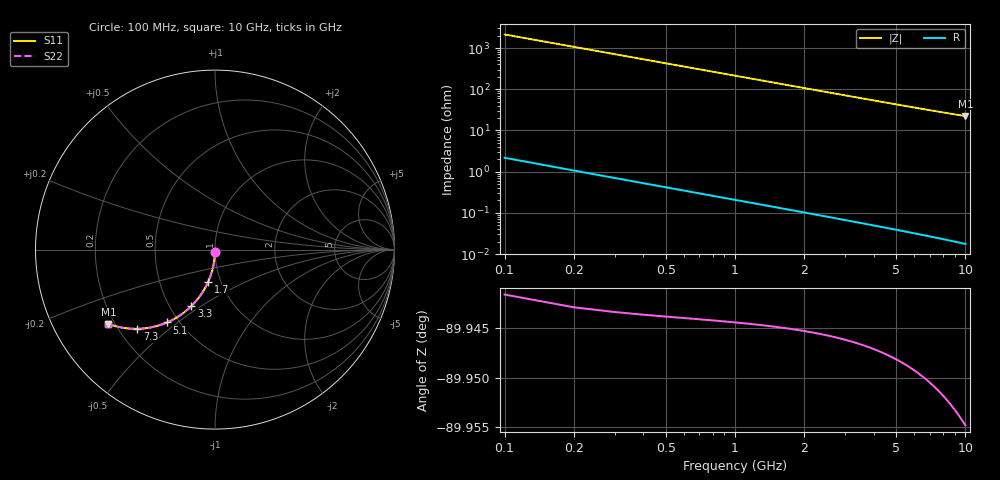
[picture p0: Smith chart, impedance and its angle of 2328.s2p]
# Hz S RI R 50.00
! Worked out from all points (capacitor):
!   100 points, 100 MHz to 10 GHz, reference 50 ohm
!   read as one part in shunt: C = 746 fF near 100 MHz
!   lowest |Z| = 22.3 ohm at 10 GHz (marker M1)
!   S11 on the Smith chart (normalised r, x): 100 MHz: 1.00, -0.02; 1.7 GHz: 0.87, -0.32; 3.3 GHz: 0.64, -0.46; 5.1 GHz: 0.43, -0.46; 7.3 GHz: 0.28, -0.39; 10 GHz: 0.18, -0.31
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1e8  -8.87e-06 -0.011  0.9997 -0.0124  0.9997 -0.0124  -8.87e-06 -0.011
2e8  -0.00043 -0.022  0.9993 -0.0249  0.9993 -0.0249  -0.00043 -0.022
3e8  -0.00112 -0.033  0.9986 -0.0373  0.9986 -0.0373  -0.00112 -0.033
4e8  -0.00209 -0.0439  0.9976 -0.0497  0.9976 -0.0497  -0.00209 -0.0439
5e8  -0.00333 -0.0548  0.9964 -0.062  0.9964 -0.062  -0.00333 -0.0548
6e8  -0.00483 -0.0657  0.9948 -0.0743  0.9948 -0.0743  -0.00483 -0.0657
8e8  -0.00865 -0.0873  0.991 -0.0988  0.991 -0.0988  -0.00865 -0.0873
9e8  -0.0109 -0.098  0.9887 -0.1109  0.9887 -0.1109  -0.0109 -0.098
1.1e9  -0.0163 -0.1191  0.9833 -0.1349  0.9833 -0.1349  -0.0163 -0.1191
1.4e9  -0.0262 -0.15  0.9733 -0.1701  0.9733 -0.1701  -0.0262 -0.15
1.7e9  -0.0383 -0.1798  0.9611 -0.2043  0.9611 -0.2043  -0.0383 -0.1798
1.8e9  -0.0427 -0.1895  0.9566 -0.2154  0.9566 -0.2154  -0.0427 -0.1895
2.1e9  -0.0574 -0.2176  0.9419 -0.2479  0.9419 -0.2479  -0.0574 -0.2176
2.5e9  -0.0795 -0.2528  0.9195 -0.2889  0.9195 -0.2889  -0.0795 -0.2528
3.3e9  -0.1314 -0.3142  0.8672 -0.362  0.8672 -0.362  -0.1314 -0.3142
3.4e9  -0.1384 -0.321  0.8601 -0.3703  0.8601 -0.3703  -0.1384 -0.321
4.2e9  -0.1977 -0.3681  0.8001 -0.4291  0.8001 -0.4291  -0.1977 -0.3681
5.1e9  -0.2678 -0.4059  0.7291 -0.4803  0.7291 -0.4803  -0.2678 -0.4059
6.7e9  -0.3899 -0.4384  0.6049 -0.5371  0.6049 -0.5371  -0.3899 -0.4384
7.3e9  -0.4325 -0.4413  0.5613 -0.5493  0.5613 -0.5493  -0.4325 -0.4413
8.4e9  -0.5046 -0.4368  0.4872 -0.562  0.4872 -0.562  -0.5046 -0.4368
1e10  -0.5939 -0.414  0.3943 -0.5648  0.3943 -0.5648  -0.5939 -0.414
